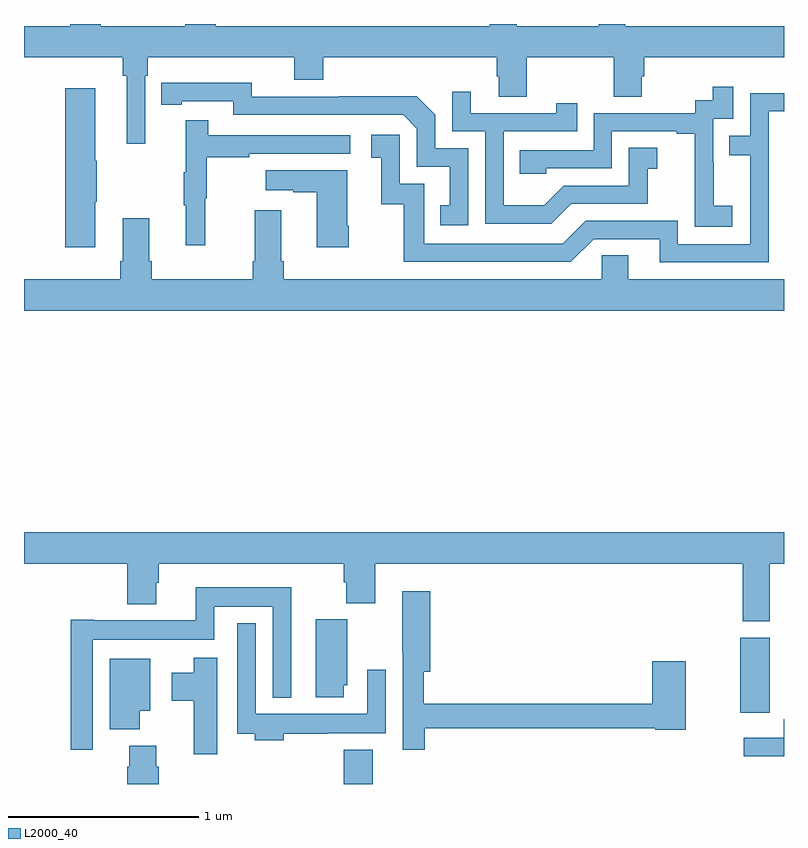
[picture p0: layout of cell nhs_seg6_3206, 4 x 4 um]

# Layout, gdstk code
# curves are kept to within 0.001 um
import gdstk
lib = gdstk.Library(unit=1e-6, precision=1e-09)
def R(c, l, rs):  # rectangles x0, y0, x1, y1
    for r in rs: c.add(gdstk.rectangle(r[:2], r[2:], *l))
def P(c, l, *ps):  # polygons
    for p in ps: c.add(gdstk.Polygon(p, *l))
L2000_40 = (2000, 40)

nhs_seg6_3206 = lib.new_cell('nhs_seg6_3206')
R(nhs_seg6_3206, L2000_40, [(300.683,955.5,300.835,955.681)])
P(nhs_seg6_3206, L2000_40, [(299.521,959.228),(299.54,959.228),(299.54,958.869),(299.637,958.869),(299.637,959.228),(299.651,959.228),(299.651,959.324),(300.422,959.324),(300.422,959.207),(300.575,959.207),(300.575,959.324),(301.487,959.324),(301.487,959.226),(301.499,959.226),(301.499,959.116),(301.647,959.116),(301.647,959.324),(302.104,959.324),(302.104,959.116),(302.251,959.116),(302.251,959.226),(302.264,959.226),(302.264,959.324),(303,959.324),(303,959.488),(302.164,959.488),(302.164,959.5),(302.024,959.5),(302.024,959.488),(301.594,959.488),(301.594,959.5),(301.451,959.5),(301.451,959.488),(300.008,959.488),(300.008,959.5),(299.848,959.5),(299.848,959.488),(299.403,959.488),(299.403,959.5),(299.243,959.5),(299.243,959.488),(299,959.488),(299,959.324),(299.521,959.324)],
  [(301.338,958.845),(301.164,958.845),(301.164,959.022),(301.066,959.12),(300.658,959.12),(300.658,959.118),(300.198,959.118),(300.198,959.191),(299.722,959.19),(299.722,959.074),(299.83,959.074),(299.83,959.094),(300.102,959.094),(300.102,959.022),(300.996,959.022),(301.068,958.95),(301.068,958.749),(301.241,958.749),(301.241,958.545),(301.192,958.545),(301.192,958.44),(301.338,958.44)],
  [(302.728,958.543),(302.63,958.543),(302.63,958.772),(302.628,958.772),(302.628,959.001),(302.733,959.001),(302.733,959.17),(302.625,959.17),(302.625,959.1),(302.532,959.1),(302.532,959.031),(301.998,959.031),(301.998,958.836),(301.609,958.836),(301.609,958.713),(301.749,958.713),(301.749,958.74),(302.094,958.74),(302.094,958.935),(302.435,958.935),(302.435,958.923),(302.531,958.923),(302.531,958.639),(302.53,958.639),(302.53,958.433),(302.728,958.433)],
  [(299.374,958.564),(299.382,958.564),(299.382,958.781),(299.374,958.781),(299.374,959.161),(299.216,959.161),(299.216,958.326),(299.374,958.326)],
  [(301.879,958.554),(302.283,958.554),(302.283,958.739),(302.332,958.739),(302.332,958.849),(302.184,958.849),(302.184,958.65),(301.842,958.65),(301.738,958.546),(301.524,958.546),(301.524,958.935),(301.913,958.935),(301.913,959.083),(301.802,959.083),(301.802,959.031),(301.351,959.031),(301.351,959.143),(301.254,959.143),(301.254,958.935),(301.428,958.935),(301.428,958.449),(301.774,958.449)],
  [(302.919,959.04),(303,959.04),(303,959.136),(302.823,959.136),(302.823,958.911),(302.713,958.911),(302.713,958.81),(302.823,958.81),(302.823,958.341),(302.442,958.341),(302.442,958.464),(301.956,958.464),(301.836,958.344),(301.107,958.344),(301.107,958.659),(300.978,958.659),(300.978,958.918),(300.828,958.918),(300.828,958.797),(300.881,958.797),(300.881,958.551),(300.999,958.551),(300.999,958.248),(301.878,958.248),(301.998,958.368),(302.345,958.368),(302.345,958.245),(302.919,958.245)],
  [(299.954,958.584),(299.962,958.584),(299.962,958.798),(300.185,958.798),(300.185,958.818),(300.718,958.818),(300.718,958.914),(299.969,958.914),(299.969,958.993),(299.852,958.993),(299.852,958.721),(299.841,958.721),(299.841,958.547),(299.852,958.547),(299.852,958.335),(299.954,958.335)],
  [(300.708,958.438),(300.7,958.438),(300.7,958.729),(300.273,958.729),(300.273,958.625),(300.416,958.625),(300.416,958.615),(300.542,958.615),(300.542,958.326),(300.708,958.326)],
  [(303,958.156),(302.179,958.156),(302.179,958.283),(302.04,958.283),(302.04,958.156),(300.368,958.156),(300.368,958.252),(300.355,958.252),(300.355,958.519),(300.215,958.519),(300.215,958.252),(300.203,958.252),(300.203,958.156),(299.672,958.156),(299.672,958.252),(299.659,958.252),(299.659,958.477),(299.519,958.477),(299.519,958.252),(299.507,958.252),(299.507,958.156),(299,958.156),(299,957.992),(303,957.992)],
  [(299,956.66),(299.543,956.66),(299.543,956.447),(299.695,956.447),(299.695,956.559),(299.708,956.559),(299.708,956.66),(300.683,956.66),(300.683,956.561),(300.695,956.561),(300.695,956.452),(300.848,956.452),(300.848,956.66),(302.783,956.66),(302.783,956.356),(302.926,956.356),(302.926,956.66),(303,956.66),(303,956.824),(299,956.824)],
  [(299.361,956.258),(300,956.258),(300,956.432),(300.309,956.432),(300.309,955.955),(300.406,955.955),(300.406,956.536),(299.903,956.536),(299.903,956.362),(299.368,956.362),(299.368,956.365),(299.245,956.365),(299.245,955.68),(299.361,955.68)],
  [(301.109,955.794),(302.322,955.794),(302.322,955.786),(302.484,955.786),(302.484,956.146),(302.306,956.146),(302.306,955.922),(301.105,955.922),(301.105,956.09),(301.139,956.09),(301.139,956.515),(300.992,956.515),(300.992,956.194),(300.993,956.194),(300.993,955.68),(301.109,955.68)],
  [(300.682,956.019),(300.7,956.019),(300.7,956.367),(300.536,956.367),(300.536,955.956),(300.682,955.956)],
  [(300.368,955.764),(300.599,955.764),(300.599,955.766),(300.903,955.766),(300.903,956.101),(300.807,956.101),(300.807,955.87),(300.219,955.87),(300.219,956.347),(300.123,956.347),(300.123,955.764),(300.215,955.764),(300.215,955.73),(300.368,955.73)],
  [(302.925,955.987),(302.926,955.987),(302.926,956.271),(302.77,956.271),(302.77,955.875),(302.925,955.875)],
  [(300.016,956.164),(299.894,956.164),(299.894,956.086),(299.777,956.086),(299.777,955.939),(299.894,955.939),(299.894,955.656),(300.016,955.656)],
  [(299.608,955.886),(299.665,955.886),(299.665,956.158),(299.45,956.158),(299.45,955.787),(299.608,955.787)],
  [(303,955.84),(302.999,955.84),(302.999,955.744),(302.787,955.744),(302.787,955.646),(303,955.646)],
  [(299.555,955.702),(299.555,955.59),(299.543,955.59),(299.543,955.5),(299.708,955.5),(299.708,955.59),(299.695,955.59),(299.695,955.702)])

lib.write_gds('nhs_seg6_3206.gds')
